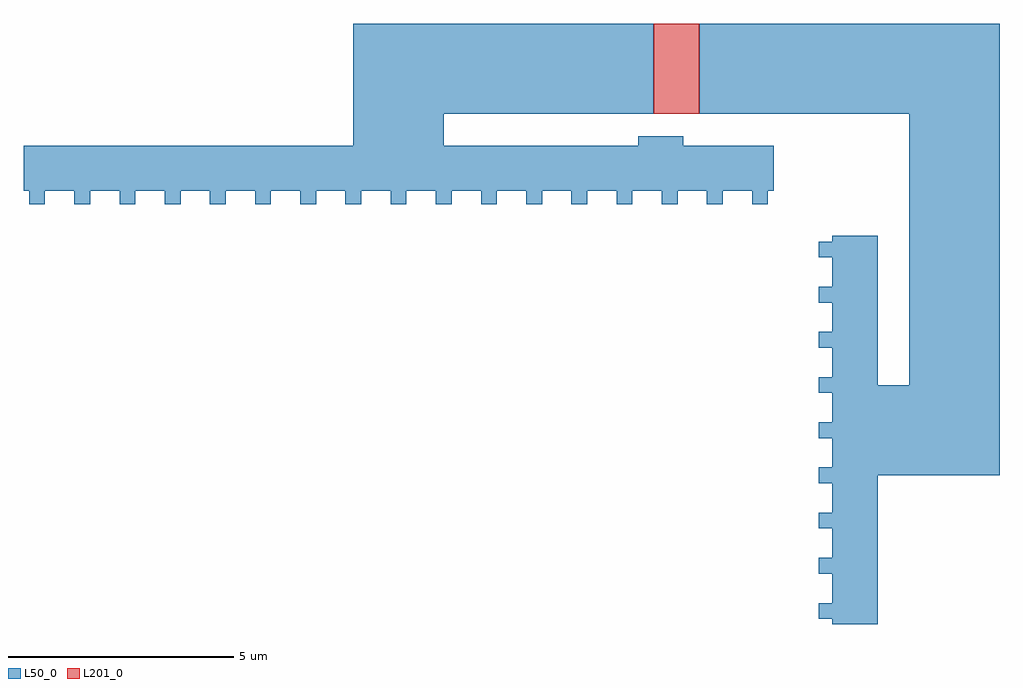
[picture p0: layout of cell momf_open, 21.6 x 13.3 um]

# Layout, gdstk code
import gdstk
lib = gdstk.Library(unit=1e-6, precision=1e-09)
def R(c, l, rs):  # rectangles x0, y0, x1, y1
    for r in rs: c.add(gdstk.rectangle(r[:2], r[2:], *l))
def A(c, l, x, y, w, h, nx, ny, dx, dy):  # array of equal rectangles
    R(c, l, [(x+i*dx, y+j*dy, x+i*dx+w, y+j*dy+h) for i in range(nx) for j in range(ny)])
L50_0 = (50, 0)
L201_0 = (201, 0)

momf_open = lib.new_cell('momf_open')
A(momf_open, L50_0, 67, 26.625, 0.3, 0.35, 1, 5, 0, 1)
A(momf_open, L50_0, 67, 32.625, 0.3, 0.35, 1, 3, 0, 1)
A(momf_open, L50_0, 49.525, 35.8, 0.35, 0.3, 17, 1, 1, 0)
R(momf_open, L50_0, [(67.3,26.5,68.3,31.625), (68.3,29.8,71,31.625), (67,31.625,71,31.8), (67,31.8,68.3,31.975), (69,31.8,71,37.8), (67.3,31.975,68.3,35.1), (49.4,36.1,66,37.1), (56.7,37.1,58.7,39.8), (63,37.1,64,37.3), (58.7,37.8,63.35,39.8), (64.35,37.8,71,39.8)])
R(momf_open, L201_0, [(63.35,37.8,64.35,39.8)])

lib.write_gds('momf_open.gds')
